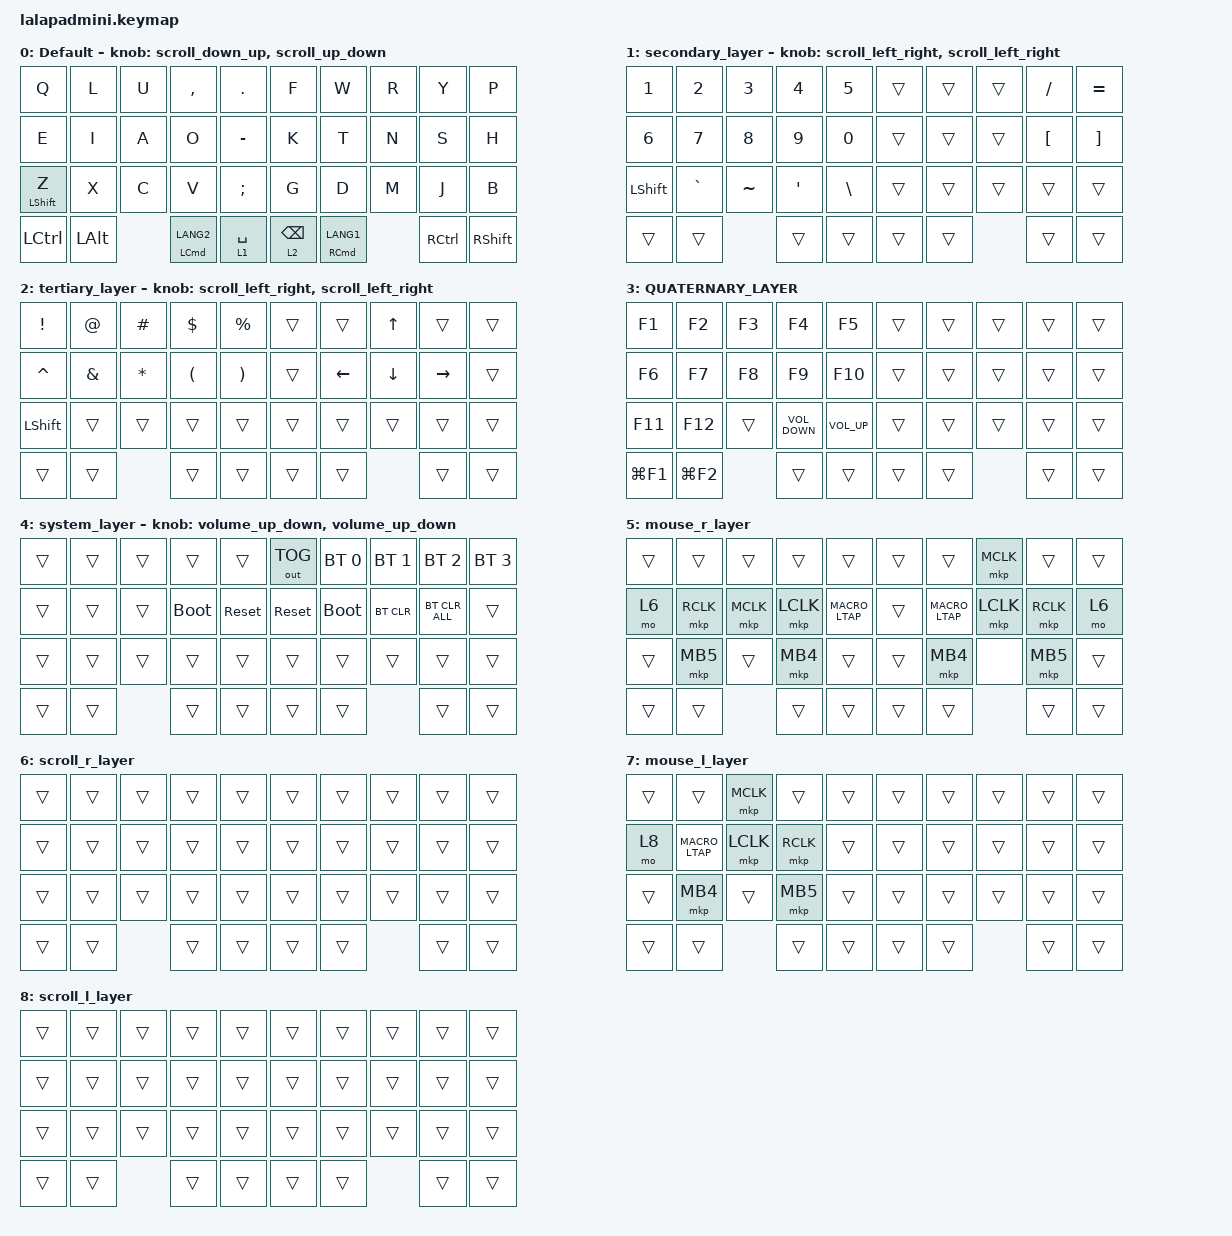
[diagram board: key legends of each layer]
#include <input/processors.dtsi>
#include <behaviors.dtsi>
#include <dt-bindings/zmk/bt.h>
#include <dt-bindings/zmk/keys.h>
#include <dt-bindings/zmk/outputs.h>
#include <dt-bindings/zmk/pointing.h>

#define DEFAULT_LAYER    0
#define SECONDARY_LAYER  1
#define TERTIARY_LAYER   2
#define QUATERNARY_LAYER 3
#define SYSTEM_LAYER     4
#define MOUSE_R_LAYER    5
#define SCROLL_R_LAYER   6
#define MOUSE_L_LAYER    7
#define SCROLL_L_LAYER   8

// Mouse Scroll Value

#define ZMK_POINTING_DEFAULT_SCRL_VAL 100

// cirque trackpad input&layer control

&glidepoint_listener_R {
    input-processors =
        <&zip_xy_transform (INPUT_TRANSFORM_XY_SWAP | INPUT_TRANSFORM_X_INVERT | INPUT_TRANSFORM_Y_INVERT)>,
        <&zip_xy_scaler 3 2>,
        <&zip_temp_layer MOUSE_R_LAYER 300>;

    lowspeedmode {
        layers = <SECONDARY_LAYER>;
        input-processors =
            <&zip_xy_transform (INPUT_TRANSFORM_XY_SWAP | INPUT_TRANSFORM_X_INVERT | INPUT_TRANSFORM_Y_INVERT)>,
            <&zip_xy_scaler 3 5>,
            <&zip_temp_layer MOUSE_R_LAYER 300>;
    };

    scroller {
        layers = <SCROLL_R_LAYER>;
        input-processors =
            <&zip_xy_to_scroll_mapper>,
            <&zip_scroll_transform (INPUT_TRANSFORM_XY_SWAP | INPUT_TRANSFORM_Y_INVERT)>,
            <&zip_scroll_scaler 1 32>;
    };
};

&glidepoint_listener_L {
    input-processors =
        <&zip_xy_transform (INPUT_TRANSFORM_XY_SWAP | INPUT_TRANSFORM_X_INVERT | INPUT_TRANSFORM_Y_INVERT)>,
        <&zip_xy_scaler 3 2>,
        <&zip_temp_layer MOUSE_L_LAYER 300>;

    lowspeedmode {
        layers = <TERTIARY_LAYER>;
        input-processors =
            <&zip_xy_transform (INPUT_TRANSFORM_XY_SWAP | INPUT_TRANSFORM_X_INVERT | INPUT_TRANSFORM_Y_INVERT)>,
            <&zip_xy_scaler 3 4>,
            <&zip_temp_layer MOUSE_L_LAYER 300>;
    };

    scroller {
        layers = <SCROLL_L_LAYER>;
        input-processors =
            <&zip_xy_to_scroll_mapper>,
            <&zip_scroll_transform (INPUT_TRANSFORM_XY_SWAP | INPUT_TRANSFORM_Y_INVERT)>,
            <&zip_scroll_scaler 1 32>;
    };
};

&mt { quick-tap-ms = <200>; };

&lt { quick-tap-ms = <200>; };

/ {
    behaviors {
        // Encoder to Mouse Scroll

        scroll_up_down: behavior_sensor_rotate_mouse_wheel_up_down {
            compatible = "zmk,behavior-sensor-rotate";
            #sensor-binding-cells = <0>;
            bindings = <&msc SCRL_UP>, <&msc SCRL_DOWN>;

            tap-ms = <20>;
        };

        scroll_down_up: behavior_sensor_rotate_mouse_wheel_down_up {
            compatible = "zmk,behavior-sensor-rotate";
            #sensor-binding-cells = <0>;
            bindings = <&msc SCRL_DOWN>, <&msc SCRL_UP>;

            tap-ms = <20>;
        };

        scroll_left_right: behavior_sensor_rotate_mouse_wheel_left_right {
            compatible = "zmk,behavior-sensor-rotate";
            #sensor-binding-cells = <0>;
            bindings = <&msc SCRL_LEFT>, <&msc SCRL_RIGHT>;

            tap-ms = <20>;
        };

        scroll_right_left: behavior_sensor_rotate_mouse_wheel_right_left {
            compatible = "zmk,behavior-sensor-rotate";
            #sensor-binding-cells = <0>;
            bindings = <&msc SCRL_RIGHT>, <&msc SCRL_LEFT>;

            tap-ms = <20>;
        };

        volume_up_down: behavior_sensor_rotate_volume_up_down {
            compatible = "zmk,behavior-sensor-rotate";
            #sensor-binding-cells = <0>;
            bindings = <&kp C_VOLUME_UP>, <&kp C_VOLUME_DOWN>;

            tap-ms = <20>;
        };

        mt2: mod_tap2 {
            compatible = "zmk,behavior-hold-tap";
            #binding-cells = <2>;
            flavor = "tap-preferred";
            tapping-term-ms = <200>;
            quick-tap-ms = <200>;
            require-prior-idle-ms = <125>;
            bindings = <&kp>, <&kp>;
        };

        tap_dance_layer_1and2: tap_dance_layer_1and2 {
            compatible = "zmk,behavior-tap-dance";
            label = "td_mo12";
            #binding-cells = <0>;
            bindings = <&mo 1>, <&mo 2>;
        };
    };

    combos {
        compatible = "zmk,combos";

        CONBO_ESC {
            bindings = <&kp ESCAPE>;
            key-positions = <0 1>;
        };

        COMBO_TAB {
            bindings = <&kp TAB>;
            key-positions = <10 11>;
        };

        COMBO_ENTER {
            bindings = <&kp ENTER>;
            key-positions = <35 34>;
        };

        COMBO_R_SHIFT {
            bindings = <&kp RIGHT_SHIFT>;
            key-positions = <29 28>;
        };

        TO_QUATERNARY_LAYER {
            bindings = <&mo 3>;
            key-positions = <34 9>;
        };
    };

    macros {
        MACRO_LTAP: MACRO_LTAP {
            compatible = "zmk,behavior-macro";
            #binding-cells = <0>;
            bindings = <&mkp LCLK>;
            label = "MACRO_LTAP";
        };
    };

    keymap {
        compatible = "zmk,keymap";

        DEFAULT_LAYER {
            display-name = "Default";
            sensor-bindings = <&scroll_down_up>, <&scroll_up_down>;

            bindings = <
&kp Q             &kp L         &kp U  &kp COMMA               &kp PERIOD     &kp F            &kp W                    &kp R  &kp Y      &kp P
&kp E             &kp I         &kp A  &kp O                   &kp MINUS      &kp K            &kp T                    &kp N  &kp S      &kp H
&mt LEFT_SHIFT Z  &kp X         &kp C  &kp V                   &kp SEMICOLON  &kp G            &kp D                    &kp M  &kp J      &kp B
&kp LCTRL         &kp LEFT_ALT         &mt LEFT_COMMAND LANG2  &lt 1 SPACE    &lt 2 BACKSPACE  &mt RIGHT_COMMAND LANG1         &kp RCTRL  &kp RIGHT_SHIFT
            >;
        };

        SECONDARY_LAYER {
            display-name = "secondary_layer";
            sensor-bindings = <&scroll_left_right>, <&scroll_left_right>;

            bindings = <
&kp NUMBER_1    &kp NUMBER_2  &kp NUMBER_3  &kp NUMBER_4  &kp NUMBER_5   &trans  &trans  &trans  &kp SLASH         &kp EQUAL
&kp NUMBER_6    &kp NUMBER_7  &kp NUMBER_8  &kp NUMBER_9  &kp NUMBER_0   &trans  &trans  &trans  &kp LEFT_BRACKET  &kp RIGHT_BRACKET
&kp LEFT_SHIFT  &kp GRAVE     &kp TILDE     &kp SQT       &kp BACKSLASH  &trans  &trans  &trans  &trans            &trans
&trans          &trans                      &trans        &trans         &trans  &trans          &trans            &trans
            >;
        };

        TERTIARY_LAYER {
            display-name = "tertiary_layer";
            bindings = <
&kp EXCLAMATION  &kp AT_SIGN    &kp HASH      &kp DOLLAR            &kp PERCENT            &trans  &trans    &kp UP_ARROW  &trans     &trans
&kp CARET        &kp AMPERSAND  &kp ASTERISK  &kp LEFT_PARENTHESIS  &kp RIGHT_PARENTHESIS  &trans  &kp LEFT  &kp DOWN      &kp RIGHT  &trans
&kp LEFT_SHIFT   &trans         &trans        &trans                &trans                 &trans  &trans    &trans        &trans     &trans
&trans           &trans                       &trans                &trans                 &trans  &trans                  &trans     &trans
            >;

            sensor-bindings = <&scroll_left_right>, <&scroll_left_right>;
        };

        QUATERNARY_LAYER {
            bindings = <
&kp F1      &kp F2      &kp F3  &kp F4             &kp F5           &trans  &trans  &trans  &trans  &trans
&kp F6      &kp F7      &kp F8  &kp F9             &kp F10          &trans  &trans  &trans  &trans  &trans
&kp F11     &kp F12     &trans  &kp C_VOLUME_DOWN  &kp C_VOLUME_UP  &trans  &trans  &trans  &trans  &trans
&kp LG(F1)  &kp LG(F2)          &trans             &trans           &trans  &trans          &trans  &trans
            >;
        };

        SYSTEM_LAYER {
            display-name = "system_layer";
            sensor-bindings = <&volume_up_down>, <&volume_up_down>;

            bindings = <
&trans  &trans  &trans  &trans       &trans      &out OUT_TOG  &bt BT_SEL 0  &bt BT_SEL 1  &bt BT_SEL 2    &bt BT_SEL 3
&trans  &trans  &trans  &bootloader  &sys_reset  &sys_reset    &bootloader   &bt BT_CLR    &bt BT_CLR_ALL  &trans
&trans  &trans  &trans  &trans       &trans      &trans        &trans        &trans        &trans          &trans
&trans  &trans          &trans       &trans      &trans        &trans                      &trans          &trans
            >;
        };

        MOUSE_R_LAYER {
            display-name = "mouse_r_layer";
            bindings = <
&trans  &trans     &trans     &trans     &trans       &trans  &trans       &mkp MCLK  &trans     &trans
&mo 6   &mkp RCLK  &mkp MCLK  &mkp LCLK  &MACRO_LTAP  &trans  &MACRO_LTAP  &mkp LCLK  &mkp RCLK  &mo 6
&trans  &mkp MB5   &trans     &mkp MB4   &trans       &trans  &mkp MB4     &none      &mkp MB5   &trans
&trans  &trans                &trans     &trans       &trans  &trans                  &trans     &trans
            >;
        };

        SCROLL_R_LAYER {
            display-name = "scroll_r_layer";
            bindings = <
&trans  &trans  &trans  &trans  &trans  &trans  &trans  &trans  &trans  &trans
&trans  &trans  &trans  &trans  &trans  &trans  &trans  &trans  &trans  &trans
&trans  &trans  &trans  &trans  &trans  &trans  &trans  &trans  &trans  &trans
&trans  &trans          &trans  &trans  &trans  &trans          &trans  &trans
            >;
        };

        MOUSE_L_LAYER {
            display-name = "mouse_l_layer";
            bindings = <
&trans  &trans       &mkp MCLK  &trans     &trans  &trans  &trans  &trans  &trans  &trans
&mo 8   &MACRO_LTAP  &mkp LCLK  &mkp RCLK  &trans  &trans  &trans  &trans  &trans  &trans
&trans  &mkp MB4     &trans     &mkp MB5   &trans  &trans  &trans  &trans  &trans  &trans
&trans  &trans                  &trans     &trans  &trans  &trans          &trans  &trans
            >;
        };

        SCROLL_L_LAYER {
            display-name = "scroll_l_layer";
            bindings = <
&trans  &trans  &trans  &trans  &trans  &trans  &trans  &trans  &trans  &trans
&trans  &trans  &trans  &trans  &trans  &trans  &trans  &trans  &trans  &trans
&trans  &trans  &trans  &trans  &trans  &trans  &trans  &trans  &trans  &trans
&trans  &trans          &trans  &trans  &trans  &trans          &trans  &trans
            >;
        };
    };

    conditional_layers {
        compatible = "zmk,conditional-layers";

        System_layer {
            if-layers = <1 2>;
            then-layer = <4>;
        };
    };
};
